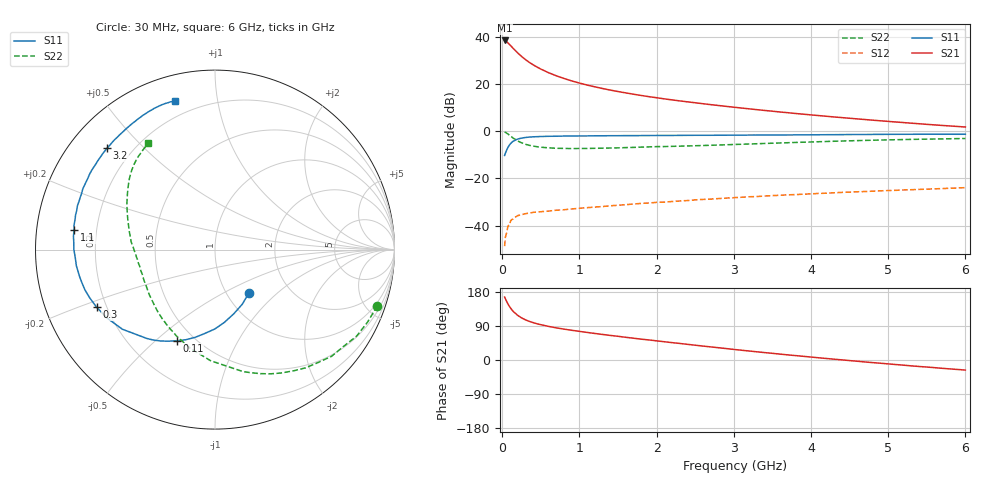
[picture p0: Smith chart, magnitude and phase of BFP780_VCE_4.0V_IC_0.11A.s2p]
! Infineon Technologies  Discrete & RF Semiconductors
! BFP780
! VCE =  4.0 V,  IC = 0.11 A
! Common Emitter S-Parameters:  Jul 2015
# GHz  S  MA  R  50
!  f  S11  S21  S12  S22
! GHz  MAG  ANG  MAG  ANG  MAG  ANG  MAG  ANG
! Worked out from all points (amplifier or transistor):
!   75 points, 30 MHz to 6 GHz, reference 50 ohm
!   highest |S21| = 38.3 dB at 30 MHz (marker M1)
!   |S21| within 3 dB of that: start of sweep to 131.4 MHz
!   unconditionally stable (mu >= 1): 1.643 GHz to end of sweep
!   at 150 MHz: K = 0.18, MSG = 35.7 dB, |S12| = -36.8 dB
!   at 2.3 GHz: K = 1.14, MAG = 18.9 dB, |S12| = -29.5 dB
!   at 6 GHz: K = 1.21, MAG = 10.1 dB, |S12| = -23.9 dB
!   S11 on the Smith chart (normalised r, x): 30 MHz: 1.27, -0.67; 110 MHz: 0.40, -0.59; 300 MHz: 0.16, -0.22; 1.1 GHz: 0.12, +0.07; 3.2 GHz: 0.11, +0.39; 6 GHz: 0.12, +0.76
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0.03  0.3063 -51.9  82.56 166.2  0.0037 83.9  0.957 -19.1
0.05  0.3734 -73.9  78.8 157.1  0.0066 69.9  0.9247 -31.4
0.07  0.4423 -90.1  74.09 149.3  0.0094 66.3  0.8803 -42.5
0.09  0.5009 -102.7  68.85 142.2  0.0102 54.7  0.8296 -52.6
0.11  0.5508 -112.8  63.63 136.2  0.0129 50.4  0.7795 -61.9
0.13  0.5927 -120.8  58.77 131.0  0.0137 47.2  0.7359 -69.9
0.15  0.6237 -127.4  54.26 126.6  0.0145 44.9  0.6971 -77.1
0.2  0.6805 -139.3  44.9 117.7  0.0164 37.7  0.6194 -92.3
0.25  0.713 -147.8  37.95 111.1  0.0171 33.7  0.5668 -104.1
0.3  0.7336 -154.1  32.56 106.0  0.018 31.8  0.5279 -113.8
0.35  0.748 -158.9  28.45 101.9  0.0185 29.9  0.501 -121.6
0.45  0.7639 -165.9  22.61 95.6  0.0195 28.3  0.4684 -133.4
0.6  0.7775 -173.3  17.18 88.7  0.0204 27.6  0.4435 -145.9
0.8  0.7865 179.9  12.96 81.5  0.0218 27.6  0.4311 -156.8
1.1  0.7924 172.1  9.408 72.7  0.0241 29.6  0.4297 -167.6
1.5  0.8007 164.2  6.864 62.5  0.0271 31.6  0.4431 -176.9
2.1  0.8106 153.8  4.81 48.2  0.0317 31.9  0.4718 173.3
3.1  0.8235 138.3  3.076 25.8  0.04 30.5  0.528 157.7
3.2  0.8248 136.8  2.957 23.7  0.041 30.1  0.5347 156.2
4.1  0.8383 124.4  2.131 5.8  0.0482 26.4  0.5969 144.2
5.1  0.857 113.2  1.56 -12.0  0.0561 21.2  0.6586 132.6
6  0.8594 105.2  1.221 -26.6  0.0639 15.3  0.6988 122.1
